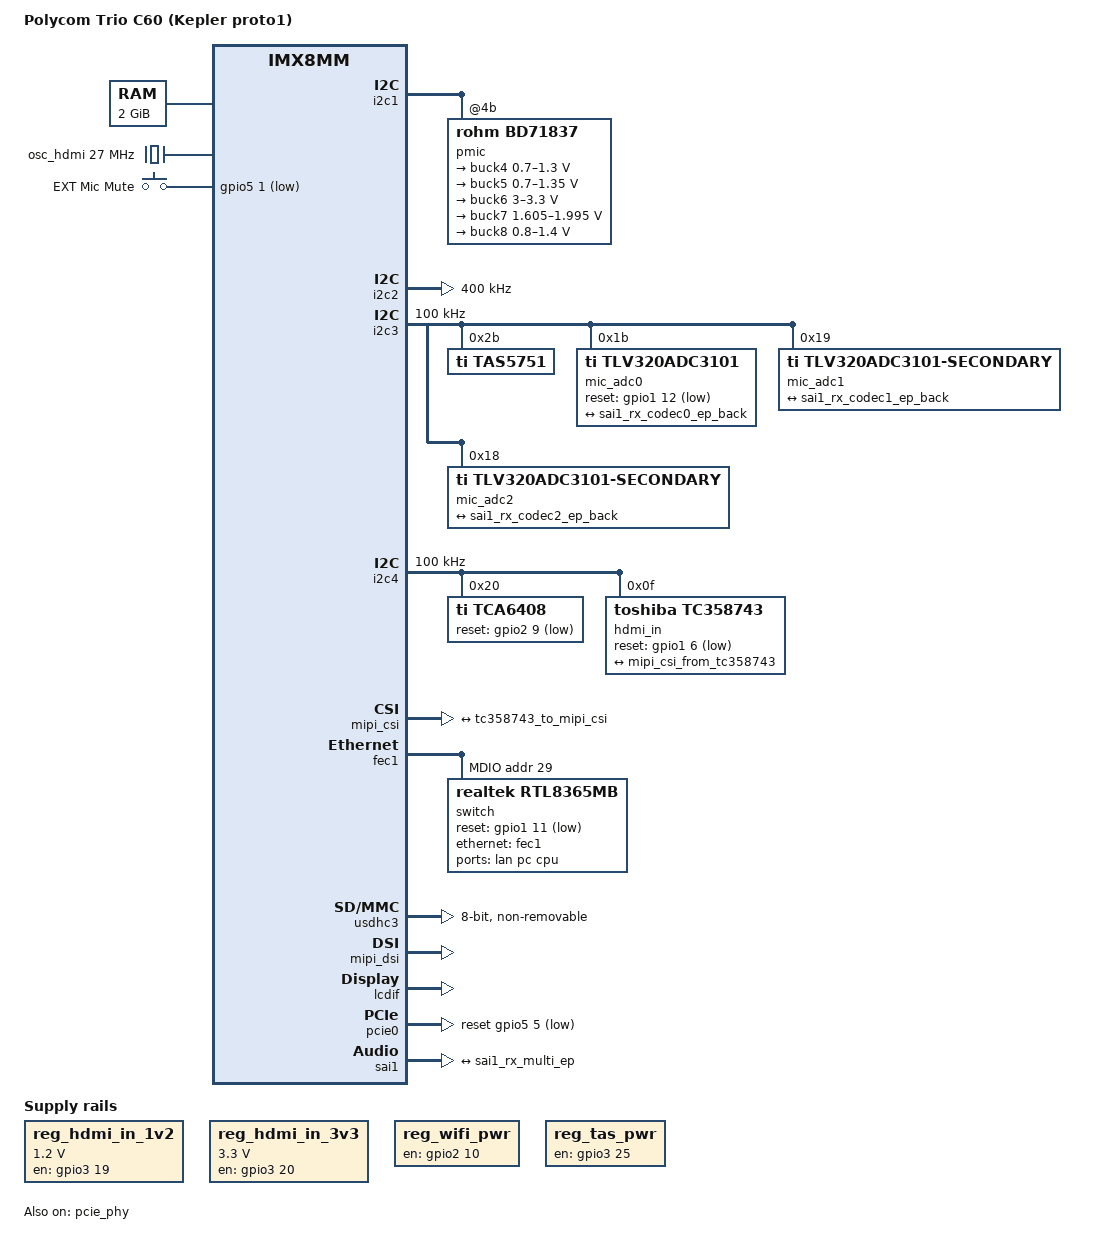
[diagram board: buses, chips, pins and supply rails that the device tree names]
// SPDX-License-Identifier: GPL-2.0+
// Polycom Trio C60 (Kepler proto1) — incremental DT on top of EVK base.
//
// Sister board to TC8 (LCC) — see imx8mm-tc8.dts for the analog. Same i.MX
// 8M Mini SoC, same RTL8363NB-VB switch on FEC1, same TAS5751M amp on SAI1,
// same BD71837 PMIC, same Vivante GC520L GPU, same Hantro VPU. Differences
// described inline.
//
// Target boot milestone for this initial DT: serial console, eMMC, RTL
// ethernet, brcmfmac WiFi enumerated. Panel / touch / HDMI-in are TODOs.

/dts-v1/;

#include <dt-bindings/gpio/gpio.h>
#include <dt-bindings/interrupt-controller/irq.h>
#include <dt-bindings/phy/phy-imx8-pcie.h>
#include "imx8mm-evk.dtsi"

/ {
	model = "Polycom Trio C60 (Kepler proto1)";
	compatible = "poly,kepler-proto1", "fsl,imx8mm-evk", "fsl,imx8mm";

	chosen {
		bootargs = "";
		stdout-path = &uart2;
	};

	memory@40000000 {
		device_type = "memory";
		/* C60 has 2 GiB, not the EVK's 4 GiB.  Override the EVK reg. */
		reg = <0x0 0x40000000 0 0x80000000>;
	};

	/* TC358743 HDMI-RX bridge needs explicit 3v3 + 1v2 supplies. Stock
	 * drives them out of GPIO3_IO19 / GPIO3_IO20.  The mainline tc358743
	 * binding doesn't consume these directly, so expose them as fixed
	 * regulators that we just keep "always on" while the bridge is enabled. */
	reg_hdmi_in_1v2: regulator-hdmi-in-1v2 {
		compatible = "regulator-fixed";
		regulator-name = "TC358743_1V2";
		gpio = <&gpio3 19 GPIO_ACTIVE_HIGH>;
		enable-active-high;
		regulator-min-microvolt = <1200000>;
		regulator-max-microvolt = <1200000>;
		regulator-always-on;
	};

	reg_hdmi_in_3v3: regulator-hdmi-in-3v3 {
		compatible = "regulator-fixed";
		regulator-name = "TC358743_3V3";
		gpio = <&gpio3 20 GPIO_ACTIVE_HIGH>;
		enable-active-high;
		regulator-min-microvolt = <3300000>;
		regulator-max-microvolt = <3300000>;
		regulator-always-on;
	};

	/* Fixed 27 MHz oscillator feeding the TC358743 refclk. Stock named it
	 * "hdmi-osc" — keep that name for grep-ability. */
	osc_hdmi: hdmi-osc {
		compatible = "fixed-clock";
		#clock-cells = <0>;
		clock-frequency = <27000000>;
		clock-output-names = "hdmi-osc";
	};

	/* Override EVK gpio-keys: C60 only has the external-mic mute button. */
	gpio-keys {
		compatible = "gpio-keys";
		/delete-node/ volume-up;
		/delete-node/ volume-down;
		/delete-node/ power;

		extmic_mute {
			label = "EXT Mic Mute";
			linux,code = <248>;   /* KEY_MICMUTE */
			gpios = <&gpio5 1 GPIO_ACTIVE_LOW>;
			debounce-interval = <100>;
			pinctrl-names = "default";
			pinctrl-0 = <&pinctrl_micmute>;
		};
	};
};

/* --------------------------------------------------------------------- */
/* PMIC: C60 is bd71837 like TC8 (not the EVK's bd71847). Same regulator
 * overrides as TC8. */
&i2c1 {
	pmic@4b {
		compatible = "rohm,bd71837";

		regulators {
			BUCK4 {
				regulator-name = "buck4";
				regulator-min-microvolt = <700000>;
				regulator-max-microvolt = <1300000>;
				regulator-boot-on;
				regulator-always-on;
			};
			BUCK5 {
				regulator-name = "buck5";
				regulator-min-microvolt = <700000>;
				regulator-max-microvolt = <1350000>;
				regulator-boot-on;
				regulator-always-on;
			};
			BUCK6 {
				regulator-name = "buck6";
				regulator-min-microvolt = <3000000>;
				regulator-max-microvolt = <3300000>;
				regulator-boot-on;
				regulator-always-on;
			};
			BUCK7 {
				regulator-name = "buck7";
				regulator-min-microvolt = <1605000>;
				regulator-max-microvolt = <1995000>;
				regulator-boot-on;
				regulator-always-on;
			};
			BUCK8 {
				regulator-name = "buck8";
				regulator-min-microvolt = <800000>;
				regulator-max-microvolt = <1400000>;
				regulator-boot-on;
				regulator-always-on;
			};
		};
	};
};

/* --------------------------------------------------------------------- */
/* I2C2 = mainline node on 30a30000.
 *
 * C60: FT touchscreen @ 0x38, kepler_cap @ 0x37 (vendor MCU, no mainline
 * driver — leave disabled), LP5569 @ 0x32 (chip not populated per probe).
 *
 * EVK base puts adv7535+ptn5110 here — disable those.
 */
&i2c2 {
	clock-frequency = <400000>;	/* stock C60 = 0x61a80 = 400 kHz */
	status = "okay";

	/* Disable EVK-inherited HDMI bridge */
	hdmi@3d { status = "disabled"; };

	/* TODO: FT touchscreen. Stock binding is the out-of-tree
	 * "focaltech,fts" with focaltech,panel-type = <0x73110002>. Mainline
	 * edt-ft5x06 may bind if the underlying silicon is FT5x06-class.
	 * Leave disabled until the panel is up. */
	touchscreen@38 {
		compatible = "edt,edt-ft5x06";
		reg = <0x38>;
		pinctrl-names = "default";
		pinctrl-0 = <&pinctrl_focaltech>;
		interrupt-parent = <&gpio1>;
		interrupts = <14 IRQ_TYPE_EDGE_FALLING>;
		reset-gpios = <&gpio2 3 GPIO_ACTIVE_LOW>;
		touchscreen-size-x = <720>;
		touchscreen-size-y = <1280>;
		status = "disabled";
	};

	/* kepler_cap @ 0x37 — vendor LED-ring MCU. No mainline driver.  Stock
	 * probe also fails ("Write Init failed") so chip likely depopulated. */
	/* (intentionally omitted) */

	/* LP5569 @ 0x32 — stock probe returns -ENXIO; chip not populated.
	 * Add when a populated rev shows up. */
	/* (intentionally omitted) */
};

/* --------------------------------------------------------------------- */
/* I2C3 = mainline node on 30a40000.
 *
 * C60: TAS5751M @ 0x2b (mic amp), TLV320ADC3101 @ 0x1b (primary mic ADC) +
 * two extra inactive ADC3101 at 0x18 and 0x19 (audio expansion), kepler_cap
 * @ 0x37 (vendor MCU), LP5569 @ 0x32 (not populated).
 */
&i2c3 {
	clock-frequency = <100000>;	/* stock = 0x186a0 = 100 kHz */
	status = "okay";

	tas5751: audio-codec@2b {
		/* Mainline tas571x driver matches "ti,tas5751" (no M-suffix). The
		 * TC8 patch 0005 adds tas5751_chip; same silicon family on C60.
		 *
		 * Stock DT had clocks/reset-gpios/pdn-gpios properties on this
		 * node; with mainline tas571x.c they cause the probe to fail
		 * silently after the regulator setup. TC8 sister DTS works with
		 * none of those — chip reset/power are managed externally
		 * (always-on regulator for reset, no PDN line wired). Stripping
		 * here for parity. */
		compatible = "ti,tas5751";
		reg = <0x2b>;
		#sound-dai-cells = <0>;
		status = "okay";
	};

	/* Mic ADC array — 3 × TLV320ADC3101 on SAI1 RX.
	 *
	 * Topology (from RE): three parallel RX data lanes, one stereo I2S
	 * pair per chip — RXD0 -> @0x1b, RXD1 -> @0x19, RXD2 -> @0x18.
	 * @0x1b is the clock-master candidate (drives BCLK/WCLK) and is the
	 * only chip with a reset-gpios line; the other two are clock
	 * consumers and use the new -secondary compatible (patch 0003) so
	 * the driver skips the reset pulse and forces CBC_CFC.
	 *
	 * MCLK = 12.288 MHz, derived from IMX8MM_CLK_SAI1 (re-parented to
	 * AUDIO_PLL1_OUT in &sai1 below). 48 kHz / 32-bit slots / plain I2S
	 * per lane — chip defaults are correct, no dai-tdm-slot-* needed.
	 */
	mic_adc0: audio-codec@1b {
		compatible = "ti,tlv320adc3101";
		reg = <0x1b>;
		reset-gpios = <&gpio1 12 GPIO_ACTIVE_LOW>;
		clocks = <&clk IMX8MM_CLK_SAI1>;
		clock-names = "mclk";
		pinctrl-names = "default";
		pinctrl-0 = <&pinctrl_mic_adc>;
		#sound-dai-cells = <0>;
		status = "okay";

		port {
			mic_adc0_ep: endpoint {
				remote-endpoint = <&sai1_rx_codec0_ep_back>;
				bitclock-master;  /* documents intent;
						   * codec is consumer at runtime */
				frame-master;
			};
		};
	};

	mic_adc1: audio-codec@19 {
		/* RXD1 lane. Clock consumer — uses -secondary compat from
		 * c60-kernel-patches/0003 so probe doesn't insist on a
		 * reset-gpios and skips the reset pulse. */
		compatible = "ti,tlv320adc3101-secondary";
		reg = <0x19>;
		clocks = <&clk IMX8MM_CLK_SAI1>;
		clock-names = "mclk";
		#sound-dai-cells = <0>;
		status = "okay";

		port {
			mic_adc1_ep: endpoint {
				remote-endpoint = <&sai1_rx_codec1_ep_back>;
			};
		};
	};

	mic_adc2: audio-codec@18 {
		/* RXD2 lane. Same shape as mic_adc1. */
		compatible = "ti,tlv320adc3101-secondary";
		reg = <0x18>;
		clocks = <&clk IMX8MM_CLK_SAI1>;
		clock-names = "mclk";
		#sound-dai-cells = <0>;
		status = "okay";

		port {
			mic_adc2_ep: endpoint {
				remote-endpoint = <&sai1_rx_codec2_ep_back>;
			};
		};
	};
};

/* --------------------------------------------------------------------- */
/* I2C4 = mainline node on 30a50000.
 *
 * C60: TC358743 HDMI-RX @ 0x0f, TCA6408 GPIO-exp @ 0x20, kepler_cap @ 0x37
 * (skip), LP5569 @ 0x32 (skip).
 *
 * EVK doesn't expose i2c4 — declare it here from scratch.
 */
&i2c4 {
	clock-frequency = <100000>;
	pinctrl-names = "default";
	pinctrl-0 = <&pinctrl_i2c4>;
	status = "okay";

	/* TCA6408A 8-bit GPIO expander. Stock has it as ti,tca6408; mainline
	 * uses pca953x driver with ti,tca6408a. */
	tca6408: gpio@20 {
		compatible = "ti,tca6408";
		reg = <0x20>;
		gpio-controller;
		#gpio-cells = <2>;
		pinctrl-names = "default";
		pinctrl-0 = <&pinctrl_pse>;
		reset-gpios = <&gpio2 9 GPIO_ACTIVE_LOW>;
		status = "okay";
	};

	/* HDMI input bridge. Mainline driver is well-supported. */
	hdmi_in: hdmi-bridge@0f {
		compatible = "toshiba,tc358743";
		reg = <0x0f>;
		clocks = <&osc_hdmi>;
		clock-names = "refclk";
		reset-gpios = <&gpio1 6 GPIO_ACTIVE_LOW>;
		pinctrl-names = "default";
		pinctrl-0 = <&pinctrl_tc358743>;
		status = "okay";

		port@0 {
			reg = <0>;
			tc358743_to_mipi_csi: endpoint {
				clock-lanes = <0>;
				data-lanes = <1 2 3 4>;
				link-frequencies = /bits/ 64 <297000000>;
				remote-endpoint = <&mipi_csi_from_tc358743>;
				clock-noncontinuous;
			};
		};
	};
};

/* MIPI-CSI in: stock wires tc358743 → mipi_csi@32e30000. EVK leaves CSI
 * disabled — turn it on for our HDMI capture path. */
&mipi_csi {
	status = "okay";

	port@1 {
		reg = <1>;
		mipi_csi_from_tc358743: endpoint {
			data-lanes = <1 2 3 4>;
			remote-endpoint = <&tc358743_to_mipi_csi>;
		};
	};
};

/* --------------------------------------------------------------------- */
/* FEC1 + Realtek DSA switch.
 *
 * Same chip as TC8 (RTL8363NB-VB at MDIO addr 0x1d — see re/STATUS.md for
 * the "stock said 0x1e but vendor driver hardcodes 0x1d" caveat).
 *
 * Differences vs TC8 mainline:
 *   - reset-gpios: C60 uses GPIO1_IO11, TC8 uses GPIO5_IO02
 *   - third user port "pc" at switch port 3 (daisy-chain through-port, not
 *     present on TC8)
 *
 * Note: depends on tc8-kernel-patches/0003 (RTL DSA) + 0004 (FEC fixed-link).
 */
&fec1 {
	/delete-property/ phy-handle;

	mdio {
		#address-cells = <1>;
		#size-cells = <0>;

		switch@1d {
			compatible = "realtek,rtl8365mb";
			reg = <0x1d>;
			reset-gpios = <&gpio1 11 GPIO_ACTIVE_LOW>;

			ports {
				#address-cells = <1>;
				#size-cells = <0>;

				port@1 {
					reg = <1>;
					label = "lan";
				};

				/* C60-specific: daisy-chain PC pass-through port */
				port@3 {
					reg = <3>;
					label = "pc";
				};

				port@6 {
					reg = <6>;
					label = "cpu";
					ethernet = <&fec1>;
					phy-mode = "rgmii-id";
					fixed-link {
						speed = <1000>;
						full-duplex;
					};
				};
			};
		};
	};
};

/* --------------------------------------------------------------------- */
/* eMMC: USDHC3 (8-bit, non-removable). Same wiring as TC8 — reuse the same
 * pin programming. */
&usdhc3 {
	pinctrl-names = "default", "state_100mhz", "state_200mhz";
	pinctrl-0 = <&pinctrl_usdhc3>;
	pinctrl-1 = <&pinctrl_usdhc3_100mhz>;
	pinctrl-2 = <&pinctrl_usdhc3_200mhz>;
	bus-width = <8>;
	non-removable;
	status = "okay";
};

/* USDHC2: C60 stock leaves this off (SD slot only on tabletop EVK). Keep
 * it disabled. */
&usdhc2 { status = "disabled"; };
/* reg_usdhc2_vmmc label is not defined in mainline imx8mm.dtsi (it's
 * usually a board-level regulator); usdhc2 itself disabled above is
 * sufficient. */

/* USDHC1: previously hypothesized to host brcmfmac SDIO WiFi. RE-confirmed
 * 2026-05-13: BCM4356 is on **PCIe** (see [[c60-wifi-pcie-blocker]] memory
 * + re/c60_stock_wifi_bringup.md). Stock USDHC1 has no card slot and no
 * SDIO endpoint wired — disable to silence the `regulator-wlan: nonexclusive
 * access to GPIO` boot warning and avoid claiming gpio2_19 needlessly. */
&usdhc1 { status = "disabled"; };

/* --------------------------------------------------------------------- */
/* MIPI-DSI panel — Raydium RM67191 (C60-specific; mainline already has
 * the driver).
 *
 * Stock proto1 fails to probe (vendor ID returns 0x00). Try once on
 * mainline; if it still fails, fall back to HDMI-in.
 */
&mipi_dsi {
	status = "okay";

	#address-cells = <1>;
	#size-cells = <0>;

	panel@0 {
		compatible = "raydium,rm67191";
		reg = <0>;
		reset-gpio = <&gpio2 5 GPIO_ACTIVE_LOW>;
		dsi-lanes = <4>;
		pinctrl-names = "default";
		pinctrl-0 = <&pinctrl_mipi_dsi_en>;
		/* power-supply / backlight wiring TODO once panel actually
		 * answers DSI commands */
		status = "disabled";  /* enable when bring-up is ready */
	};
};

&lcdif {
	status = "okay";
};

/* No HDMI-out on C60 proto1 — bridge depopulated (u-boot can't find ADV7535). */

/* --------------------------------------------------------------------- */
/* IO mux groups carried from stock c60.dts. Pin offset values are
 * verbatim from the live-tree export — pinctrl-imx will hand them off to
 * the SoC verbatim. */
&iomuxc {
	pinctrl_focaltech: focaltechgrp {
		fsl,pins = <
			0xac 0x314 0x000 0x05 0x000 0x1d0
			0x60 0x2c8 0x000 0x00 0x000 0x19
		>;
	};

	pinctrl_micmute: micmutegrp {
		fsl,pins = <0x1e0 0x448 0x000 0x05 0x000 0x19>;
	};

	pinctrl_tas5751: tas5751grp {
		fsl,pins = <
			0x158 0x3c0 0x000 0x05 0x000 0x19
			0x1b4 0x41c 0x000 0x05 0x000 0x19
		>;
	};

	pinctrl_mic_adc: micadcgrp {
		fsl,pins = <
			0x3c 0x2a4 0x000 0x00 0x000 0x19
			0x58 0x2c0 0x000 0x00 0x000 0x19
		>;
	};

	pinctrl_i2c4: i2c4grp {
		fsl,pins = <
			0x22c 0x494 0x000 0x00 0x000 0x400001c3
			0x230 0x498 0x000 0x00 0x000 0x400001c3
		>;
	};

	pinctrl_tc358743: tc358743grp {
		fsl,pins = <
			0x40 0x2a8 0x000 0x00 0x000 0x19
			0x140 0x3a8 0x000 0x05 0x000 0x19
			0x144 0x3ac 0x000 0x05 0x000 0x19
		>;
	};

	pinctrl_pse: psegrp {
		fsl,pins = <0xc4 0x32c 0x000 0x05 0x000 0x16>;
	};

	pinctrl_mipi_dsi_en: mipidsiengrp {
		fsl,pins = <
			0xb0 0x318 0x000 0x05 0x000 0x16
			0xb4 0x31c 0x000 0x05 0x000 0x16
		>;
	};

	pinctrl_wlan: wlangrp {
		fsl,pins = <0x28 0x290 0x000 0x05 0x000 0x16>;
	};

	/* USDHC1 (WiFi) pins. Verify against stock usdhc1grp/100mhz/200mhz
	 * before first flash — these are pulled from stock but partial in
	 * the live export (the 200 MHz pin list isn't there). */
	pinctrl_usdhc1: usdhc1grp {
		fsl,pins = <
			0xa0 0x308 0x000 0x00 0x000 0x190
			0xa4 0x30c 0x000 0x00 0x000 0x1d0
			0xa8 0x310 0x000 0x00 0x000 0x1d0
			/* TODO: data lines D0-D3 — copy from stock C60 once we have
			 * the full usdhc1grp pin list, or steal from EVK's
			 * pinctrl_usdhc1 if pinmux is identical. */
		>;
	};

	pinctrl_usdhc1_100mhz: usdhc1grp100mhz {
		fsl,pins = <
			0xa0 0x308 0x000 0x00 0x000 0x194
			0xa4 0x30c 0x000 0x00 0x000 0x1d4
			0xa8 0x310 0x000 0x00 0x000 0x1d4
		>;
	};

	pinctrl_usdhc1_200mhz: usdhc1grp200mhz {
		fsl,pins = <
			0xa0 0x308 0x000 0x00 0x000 0x196
			0xa4 0x30c 0x000 0x00 0x000 0x1d6
			0xa8 0x310 0x000 0x00 0x000 0x1d6
		>;
	};

	pinctrl_usdhc3: usdhc3grp {
		fsl,pins = <
			0x138 0x3a0 0 0x12 0 0x190
			0x13c 0x3a4 0 0x02 0 0x1d0
			0x11c 0x384 0 0x02 0 0x1d0
			0x120 0x388 0 0x02 0 0x1d0
			0x124 0x38c 0 0x02 0 0x1d0
			0x128 0x390 0 0x02 0 0x1d0
			0x130 0x398 0 0x02 0 0x1d0
			0x100 0x368 0 0x02 0 0x1d0
			0x104 0x36c 0 0x02 0 0x1d0
			0x108 0x370 0 0x02 0 0x1d0
			0xfc  0x364 0 0x02 0 0x190
		>;
	};

	pinctrl_usdhc3_100mhz: usdhc3grp100mhz {
		fsl,pins = <
			0x138 0x3a0 0 0x12 0 0x194
			0x13c 0x3a4 0 0x02 0 0x1d4
			0x11c 0x384 0 0x02 0 0x1d4
			0x120 0x388 0 0x02 0 0x1d4
			0x124 0x38c 0 0x02 0 0x1d4
			0x128 0x390 0 0x02 0 0x1d4
			0x130 0x398 0 0x02 0 0x1d4
			0x100 0x368 0 0x02 0 0x1d4
			0x104 0x36c 0 0x02 0 0x1d4
			0x108 0x370 0 0x02 0 0x1d4
			0xfc  0x364 0 0x02 0 0x194
		>;
	};

	pinctrl_usdhc3_200mhz: usdhc3grp200mhz {
		fsl,pins = <
			0x138 0x3a0 0 0x12 0 0x196
			0x13c 0x3a4 0 0x02 0 0x1d6
			0x11c 0x384 0 0x02 0 0x1d6
			0x120 0x388 0 0x02 0 0x1d6
			0x124 0x38c 0 0x02 0 0x1d6
			0x128 0x390 0 0x02 0 0x1d6
			0x130 0x398 0 0x02 0 0x1d6
			0x100 0x368 0 0x02 0 0x1d6
			0x104 0x36c 0 0x02 0 0x1d6
			0x108 0x370 0 0x02 0 0x1d6
			0xfc  0x364 0 0x02 0 0x196
		>;
	};
};

/* --------------------------------------------------------------------- */
/* Disable EVK-inherited nodes that don't match C60 hardware.
 *
 * imx8mm-evk.dtsi populates several nodes for the NXP eval board's audio
 * + PCIe routing that conflict with C60: a WM8524 codec on SAI3 (C60
 * uses TAS5751M on SAI1), a BT-SCO simple-audio-card on SAI2, and a PCIe
 * controller whose pinmux claims i2c4 pins (C60 uses i2c4 for the
 * TC358743 HDMI-in bridge and TCA6408 GPIO expander).
 *
 * Live dmesg on first boot showed:
 *   - "platform sound-wm8524: deferred probe pending" — codec missing
 *   - "platform sound-bt-sco: deferred probe pending" — DAI missing
 *   - "pin MX8MM_IOMUXC_I2C4_SCL already requested by 30a50000.i2c;
 *      cannot claim for 33800000.pcie" — pinmux double-claim
 *
 * The TC8 sister DTS just disables &wm8524; we extend the cleanup to
 * the simple-audio-card stubs and to the PCIe block itself (we don't
 * use PCIe yet — the brcmfmac WiFi/BT path on this board may run via
 * SDIO/USDHC1, see live probe).
 */
&wm8524           { status = "disabled"; };
&{/sound-wm8524}  { status = "disabled"; };
&{/sound-bt-sco}  { status = "disabled"; };

/* --------------------------------------------------------------------- */
/* PCIe enable for BCM4356 WiFi (re/c60_chip_inventory).
 *
 * EVK inherits `pinctrl_pcie0` muxing MX8MM_IOMUXC_I2C4_SCL as
 * PCIE1_CLKREQ_B — collides with C60's i2c4 (HDMI bridge + GPIO exp).
 * Stock C60 RE (c60.dts:1884 pcie0grp) shows C60 doesn't wire the
 * CLKREQ alt-function at all; it uses only two GPIOs:
 *   - GPIO2_IO10 (SD1_RESET_B pad, mode 5) — chip power-enable (active
 *     LOW in stock as `disable-gpio`; we model as a regulator that
 *     drives the pad HIGH to enable the rail).
 *   - GPIO5_IO5  (SPDIF_EXT_CLK pad, mode 5) — PCIe reset (active low).
 * No CLKREQ → PCIe runs without L1 substate gating, link still trains
 * at L0. Brcmfmac4356 doesn't need CLKREQ.
 *
 * pcie0_refclk + pcie_phy refclk-pad-mode=PAD_INPUT (external 100 MHz
 * osc) are inherited from EVK unchanged — C60 has the same external
 * refclk topology per stock `ext_osc = <0x01>`.
 */
&pinctrl_pcie0 {
	fsl,pins = <
		MX8MM_IOMUXC_SPDIF_EXT_CLK_GPIO5_IO5  0x41
	>;
};

&iomuxc {
	pinctrl_wifi_pwr: wifipwrgrp {
		fsl,pins = <
			/* WIFI_PWR_EN — drives BCM4356 chip-enable rail */
			MX8MM_IOMUXC_SD1_RESET_B_GPIO2_IO10  0x41
			/* WIFI_LPO_CLK — SoC outputs 32 kHz on GPIO1_IO00
			 * (ANAMIX_REF_CLK_32K alt-5). Stock C60 muxes this
			 * once chip is powered (c60.dts wlangrp). BCM4356
			 * uses it as the sleep-clock reference; without it
			 * the chip's PCIe REFCLK_OUT (100 MHz) never starts,
			 * and our SoC pcie_phy times out on "PHY ready". */
			MX8MM_IOMUXC_GPIO1_IO00_ANAMIX_REF_CLK_32K  0x16
		>;
	};
};

/ {
	reg_wifi_pwr: regulator-wifi-pwr {
		compatible = "regulator-fixed";
		regulator-name = "C60_WIFI_PWR";
		pinctrl-names = "default";
		pinctrl-0 = <&pinctrl_wifi_pwr>;
		gpio = <&gpio2 10 GPIO_ACTIVE_HIGH>;
		enable-active-high;
		regulator-always-on;
		regulator-boot-on;
		/* Give BCM4356 time after power-up to lock its internal
		 * PLL and start outputting the 100 MHz REFCLK_OUT before
		 * the PCIe PHY tries to enumerate. */
		startup-delay-us = <100000>;
	};
};

/* Disable EVK's MPCIE_3V3 regulator — C60 has no mini-PCIe slot, and
 * the regulator's enable-gpio (GPIO1_IO5) collides with the kepler
 * mic-ADC pinctrl group (pinctrl_mic_adc claims same pad for the
 * codec mute/reset GPIOs). */
&{/regulator-pcie} { status = "disabled"; };

&pcie0 {
	pinctrl-names = "default";
	pinctrl-0 = <&pinctrl_pcie0>;
	reset-gpio = <&gpio5 5 GPIO_ACTIVE_LOW>;
	clocks = <&clk IMX8MM_CLK_PCIE1_ROOT>,
		 <&pcie0_refclk>,
		 <&clk IMX8MM_CLK_PCIE1_AUX>;
	clock-names = "pcie", "pcie_bus", "pcie_aux";
	assigned-clocks = <&clk IMX8MM_CLK_PCIE1_AUX>,
			  <&clk IMX8MM_CLK_PCIE1_CTRL>;
	assigned-clock-rates = <10000000>, <250000000>;
	assigned-clock-parents = <&clk IMX8MM_SYS_PLL2_50M>,
				 <&clk IMX8MM_SYS_PLL2_250M>;
	vpcie-supply = <&reg_wifi_pwr>;
	fsl,max-link-speed = <2>;
	status = "okay";
};

/* pcie_phy needs PAD_INPUT (external 100 MHz refclk driven by BCM4356
 * module — typical embedded BCM PCIe wiring) + clkreq-unsupported (stock
 * C60 doesn't wire CLKREQ# anywhere). Without these the SoC's PHY PLL
 * drives the refclk pad as output, fights the chip's clock driver, and
 * `readl_poll_timeout` on CMN_REG075 expires after 20 ms (-ETIMEDOUT).
 * Per stock `ext_osc = <0x01>` semantics — see re/c60_stock_wifi_bringup.md. */
&pcie_phy {
	fsl,refclk-pad-mode = <IMX8_PCIE_REFCLK_PAD_INPUT>;
	fsl,clkreq-unsupported;
	clocks = <&pcie0_refclk>;
	clock-names = "ref";
	status = "okay";
};

/* --------------------------------------------------------------------- */
/* TAS5751 reset deassertion — done by an always-on regulator-fixed that
 * holds gpio3_25 HIGH at boot. Mirrors TC8's reg_tas_pwr. Without this
 * the codec stays in reset and tas571x.c's i2c reads silently fail. */
/ {
	reg_tas_pwr: regulator-tas-pwr {
		compatible = "regulator-fixed";
		regulator-name = "C60_TAS_RST";
		gpio = <&gpio3 25 GPIO_ACTIVE_HIGH>;
		enable-active-high;
		regulator-always-on;
		regulator-boot-on;
	};
};

/* --------------------------------------------------------------------- */
/* Audio: TAS5751M Class-D amp on SAI1.
 *
 * Wiring is identical to the TC8: SAI1 master, TAS5751 codec on i2c-2:0x2b.
 * Mainline tas571x.c (with TC8 patch 0005) handles the stock proline_3106
 * init sequence to bring the chip out of the post-power-on PWM-mute state.
 * Requires the SAI1 pinctrl group + MCLK direction + 24.576 MHz audio PLL,
 * same as TC8.
 */
&sai1 {
	pinctrl-names = "default";
	/* SAI1 carries both TX (TAS5751M speaker, TXD0) and RX (3-codec
	 * mic array, RXD0/1/2). Reference both pinmux groups so the SoC
	 * brings TX_BCLK/TX_SYNC/MCLK/TXD0 + RXD0/1/2 into SAI1 mode. */
	pinctrl-0 = <&pinctrl_sai1>, <&pinctrl_sai1_rx>;
	assigned-clocks = <&clk IMX8MM_CLK_SAI1>;
	assigned-clock-parents = <&clk IMX8MM_AUDIO_PLL1_OUT>;
	assigned-clock-rates = <24576000>;
	fsl,sai-mclk-direction-output;
	status = "okay";

	/* ============================================================ *
	 * PRIMARY: mainline fsl,dataline
	 *
	 * Per fsl,sai.yaml the triplet is <type rx_mask tx_mask>:
	 *   type=1   -> I2S
	 *   rx_mask  -> bitmask of RXDn pins active for this config
	 *   tx_mask  -> bitmask of TXDn pins active for this config
	 *
	 * RXD0/RXD1/RXD2 active for the mic array => rx_mask = 0b111 = 0x7
	 * Only TXD0 currently wired to TAS5751M    => tx_mask = 0b001 = 0x1
	 *
	 * If the SAI driver in mainline 6.6 collapses all RX lanes into a
	 * single multi-channel capture stream when rx_mask has multiple
	 * bits set, this is the correct knob. If instead each lane needs
	 * to be exposed as a separate sub-stream / lane-id, fall back to
	 * the ported fsl,sai-multi-lane property in the FALLBACK block.
	 *
	 * NOTE: the parent prompt's example used <0 0x07 0x01> with type=0;
	 * type 0 is "DEFAULT" per fsl_sai_read_dlcfg() so behavior is the
	 * same as omitting the prop. Using type=1 here for explicit I2S.
	 * ============================================================ */
	fsl,dataline = <1 0x07 0x01>;

	/* ============================================================ *
	 * dmas override: switch RX DMA to MULTI_SAI (IMX_DMATYPE = 25 / 0x19)
	 *
	 * imx8mm.dtsi defaults sai1 to <&sdma2 0 2 0>, <&sdma2 1 2 0>
	 * (type=2 = IMX_DMATYPE_SSI_SP). fsl_sai.c probe() checks
	 * dmas[2] == IMX_DMATYPE_MULTI_SAI (25) before setting
	 * sai->is_multi_fifo_dma — without that flag, fsl,dataline with
	 * multi-bit RX mask configures the FIFO regs but SDMA only reads
	 * a single FIFO. Override here. SDMA event numbers (0=rx,1=tx)
	 * stay the same — only the type cell changes (2 -> 25).
	 * ============================================================ */
	dmas = <&sdma2 0 25 0>, <&sdma2 1 2 0>;
	dma-names = "rx", "tx";

	/* ============================================================ *
	 * FALLBACK: ported fsl,sai-multi-lane (Agent D's work)
	 *
	 * If mainline fsl,dataline can't fan a single substream out across
	 * 3 parallel RX lanes, uncomment the block below and delete the
	 * fsl,dataline line above. The exact property name / value shape
	 * comes from Agent D's port — placeholder shown here matches the
	 * stock i.MX vendor binding (rx-channel-config <lane><slot>...).
	 *
	 * fsl,sai-multi-lane;
	 * fsl,rx-dline-mask = <0x07>;
	 * fsl,tx-dline-mask = <0x01>;
	 * ============================================================ */

	/* Graph port for audio-graph-card2 sound-mics card.
	 * SAI1 TX (TAS5751M) stays on the legacy simple-audio-card path
	 * via &sai1 / sound-dai — no graph port for TX. If/when TX is
	 * migrated to graph-card2 too, add port@1 for it; reg=0 is RX. */
	ports {
		#address-cells = <1>;
		#size-cells = <0>;
		port@0 {
			reg = <0>;	/* RX (mic array) */
			sai1_rx_cpu_ep: endpoint {
				remote-endpoint = <&sai1_rx_multi_ep>;
			};
		};
	};
};

/ {
	sound-tas5751 {
		compatible = "simple-audio-card";
		simple-audio-card,name = "c60-tas5751";
		simple-audio-card,format = "i2s";
		simple-audio-card,frame-master = <&c60_sai1_cpudai>;
		simple-audio-card,bitclock-master = <&c60_sai1_cpudai>;
		simple-audio-card,widgets =
			"Speaker", "Handsfree Speaker";
		simple-audio-card,routing =
			"Handsfree Speaker", "OUT_A",
			"Handsfree Speaker", "OUT_B";

		c60_sai1_cpudai: simple-audio-card,cpu {
			sound-dai = <&sai1>;
			dai-tdm-slot-num = <2>;
			dai-tdm-slot-width = <16>;
		};

		simple-audio-card,codec {
			sound-dai = <&tas5751>;
		};
	};
};

&iomuxc {
	pinctrl_sai1: c60sai1grp {
		fsl,pins = <
			MX8MM_IOMUXC_SAI1_MCLK_SAI1_MCLK     0xd6
			MX8MM_IOMUXC_SAI1_TXFS_SAI1_TX_SYNC  0xd6
			MX8MM_IOMUXC_SAI1_TXC_SAI1_TX_BCLK   0xd6
			MX8MM_IOMUXC_SAI1_TXD0_SAI1_TX_DATA0 0xd6
		>;
	};

	/* RX-side pinmux for the 3-codec mic array. Pad-ctl 0xD6 matches the
	 * stock sai1grp programming for the TX pads. RXD0/1/2 are inputs and
	 * the SoC ignores most pad-ctl bits on input-only pads, but keep the
	 * value uniform for grep-ability. */
	pinctrl_sai1_rx: c60sai1rxgrp {
		fsl,pins = <
			MX8MM_IOMUXC_SAI1_RXD0_SAI1_RX_DATA0 0xd6
			MX8MM_IOMUXC_SAI1_RXD1_SAI1_RX_DATA1 0xd6
			MX8MM_IOMUXC_SAI1_RXD2_SAI1_RX_DATA2 0xd6
		>;
	};
};

/* --------------------------------------------------------------------- */
/* Mic-array sound card: 3 × TLV320ADC3101 on SAI1 RX, Semi-Multi shape.
 *
 * One CPU DAI (SAI1 RX) <-> three codec endpoints (one per RXDn lane).
 * Pattern: linux-6.6/sound/soc/generic/audio-graph-card2-custom-sample.dtsi
 * "Semi-Multi" links — single CPU port, multi ports@N fan to N codec
 * endpoints.
 *
 * Routing is left empty until live tap-tests confirm which physical mic
 * pair lands on which I2S channel; widgets are nominal labels for now and
 * the parent agent should fix them up after a board-level mic poke test.
 *
 * Lives alongside the existing sound-tas5751 simple-audio-card. SAI1 can
 * back two cards because TX (speaker) and RX (mics) are independent
 * substreams in the fsl-sai driver.
 */
/ {
	sound-mics {
		compatible = "audio-graph-card2";
		label = "kepler-mics";

		widgets =
			"Microphone", "Internal Mic Front-Pair",
			"Microphone", "Internal Mic Side-Pair",
			"Microphone", "External Mic Ports";
		/* routing left minimal until physical-mic mapping is
		 * confirmed live (see parent prompt's open question #2). */

		links = <&sai1_rx_cpu_ep>;

		multi {
			#address-cells = <1>;
			#size-cells = <0>;

			ports@0 {
				reg = <0>;
				#address-cells = <1>;
				#size-cells = <0>;
				port@0 {
					reg = <0>;
					sai1_rx_multi_ep: endpoint {
						remote-endpoint = <&sai1_rx_cpu_ep>;
					};
				};
				port@1 {
					reg = <1>;
					sai1_rx_codec0_ep_back: endpoint {
						remote-endpoint = <&mic_adc0_ep>;
					};
				};
				port@2 {
					reg = <2>;
					sai1_rx_codec1_ep_back: endpoint {
						remote-endpoint = <&mic_adc1_ep>;
					};
				};
				port@3 {
					reg = <3>;
					sai1_rx_codec2_ep_back: endpoint {
						remote-endpoint = <&mic_adc2_ep>;
					};
				};
			};
		};
	};
};

/* --------------------------------------------------------------------- */
/* Things still TODO (do not enable in starter DT):
 *
 *   - sound-kepler card (TAS5751 + 3x ADC3101 + kepler-audio glue)
 *   - sound-tchdmiaudio (SAI3 capture path off the TC358743)
 *   - bt-audio (SAI2, brcm BT SCO link)
 *   - dect-audio (SAI5) — DECT cordless handset; very probably proprietary
 *   - micfil (PDM mic array)
 *   - digipyro IR receiver (no mainline driver — stub or add gpio-ir-receiver)
 *   - kepler_cap touch-button MCUs (no mainline driver, chips depopulated
 *     anyway)
 *   - PCIe block (stock has it but brcmfmac binds on SDIO; probe what's
 *     actually behind pcie@33800000 once mainline is up) — currently
 *     disabled above to free i2c4 pinmux.
 *   - flexspi NOR (mt25qu256aba) — present in stock, role unknown
 *   - imx_rpmsg / Cortex-M4 — no firmware available to us
 *
 * Each is a follow-up bring-up milestone (see M7..M10 in
 * re/c60_mainline_prep.md).
 */
